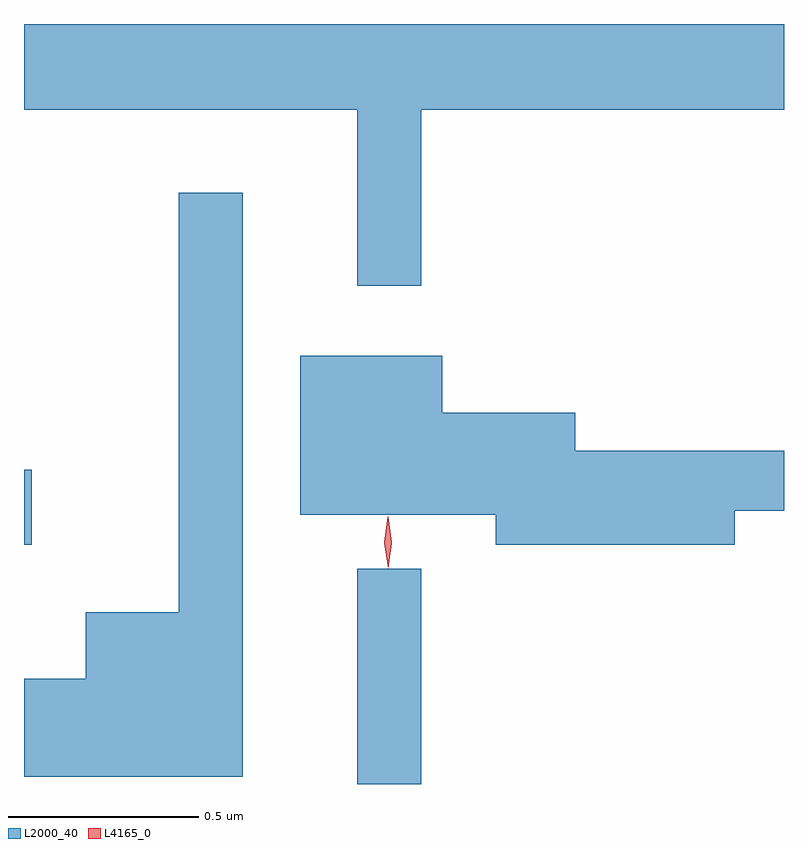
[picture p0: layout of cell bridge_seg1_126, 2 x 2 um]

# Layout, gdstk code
import gdstk
lib = gdstk.Library(unit=1e-6, precision=1e-09)
def R(c, l, rs):  # rectangles x0, y0, x1, y1
    for r in rs: c.add(gdstk.rectangle(r[:2], r[2:], *l))
def P(c, l, *ps):  # polygons
    for p in ps: c.add(gdstk.Polygon(p, *l))
L2000_40 = (2000, 40)
L4165_0 = (4165, 0)

bridge_seg1_126 = lib.new_cell('bridge_seg1_126')
R(bridge_seg1_126, L2000_40, [(1375.591,924.442,1375.759,925.008), (1374.714,925.071,1374.734,925.269)])
P(bridge_seg1_126, L2000_40, [(1375.759,926.216),(1376.714,926.216),(1376.714,926.442),(1374.714,926.442),(1374.714,926.216),(1375.591,926.216),(1375.591,925.753),(1375.759,925.753)],
  [(1375.289,925.998),(1375.121,925.998),(1375.121,924.894),(1374.876,924.894),(1374.876,924.719),(1374.714,924.719),(1374.714,924.461),(1375.289,924.461)],
  [(1376.584,925.161),(1376.714,925.161),(1376.714,925.319),(1376.164,925.319),(1376.164,925.419),(1375.814,925.419),(1375.814,925.569),(1375.441,925.569),(1375.441,925.151),(1375.956,925.151),(1375.956,925.071),(1376.584,925.071)])
P(bridge_seg1_126, L4165_0, [(1375.672,925.01),(1375.672,925.01),(1375.662,925.078),(1375.671,925.145),(1375.671,925.146),(1375.672,925.145),(1375.682,925.078),(1375.673,925.01)],
  [(1375.672,925.013),(1375.672,925.013),(1375.662,925.076),(1375.671,925.139),(1375.671,925.139),(1375.672,925.139),(1375.682,925.076),(1375.673,925.013)])

lib.write_gds('bridge_seg1_126.gds')
